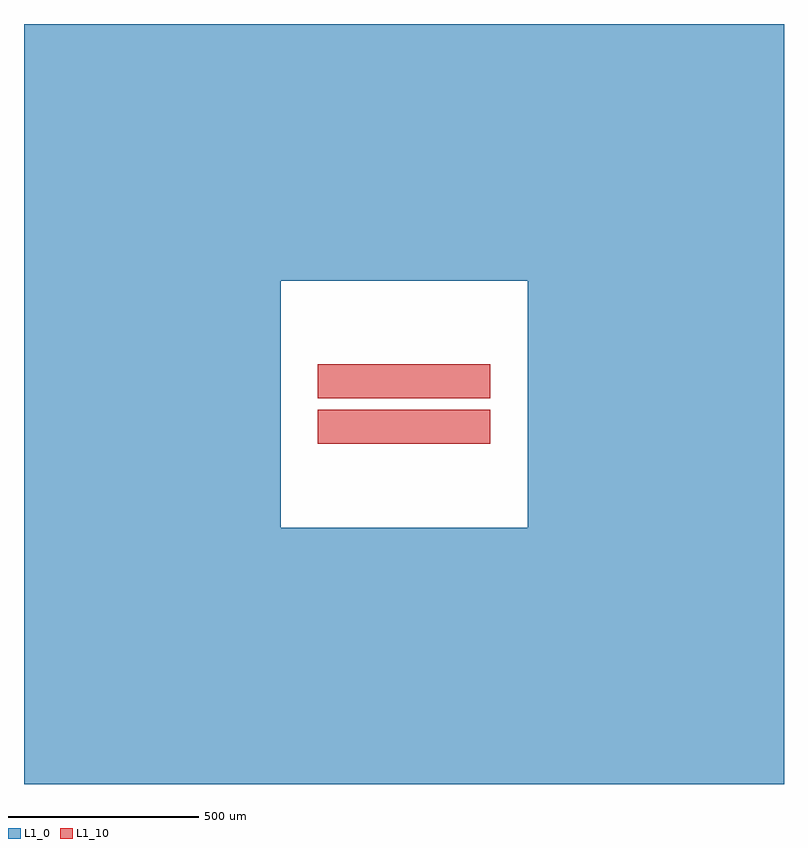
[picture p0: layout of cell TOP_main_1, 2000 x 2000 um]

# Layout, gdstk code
import gdstk
lib = gdstk.Library(unit=1e-6, precision=1e-09)
def R(c, l, rs):  # rectangles x0, y0, x1, y1
    for r in rs: c.add(gdstk.rectangle(r[:2], r[2:], *l))
def A(c, l, x, y, w, h, nx, ny, dx, dy):  # array of equal rectangles
    R(c, l, [(x+i*dx, y+j*dy, x+i*dx+w, y+j*dy+h) for i in range(nx) for j in range(ny)])
def P(c, l, *ps):  # polygons
    for p in ps: c.add(gdstk.Polygon(p, *l))
L1_0 = (1, 0)
L1_10 = (1, 10)

ground_main_1 = lib.new_cell('ground_main_1')
A(ground_main_1, L1_0, -1000, -1000, 125, 2000, 5, 1, 125, 0)
A(ground_main_1, L1_0, -250, -1000, 125, 675, 4, 2, 125, 1325)
A(ground_main_1, L1_0, 375, -1000, 125, 2000, 5, 1, 125, 0)
P(ground_main_1, L1_0, [(-250,-325),(-325,-325),(-325,325),(-250,325),(-250,1000),(-375,1000),(-375,-1000),(-250,-1000)],
  [(375,1000),(250,1000),(250,325),(325,325),(325,-325),(250,-325),(250,-1000),(375,-1000)])

top_main_1 = lib.new_cell('TOP_main_1')
P(top_main_1, L1_10, [(-227.5,15),(227.5,15),(227.5,105),(-227.5,105),(-227.5,15)],
  [(-227.5,-105),(227.5,-105),(227.5,-15),(-227.5,-15),(-227.5,-105)])
top_main_1.add(gdstk.Reference(ground_main_1, (0,0)))

lib.write_gds('TOP_main_1.gds')
